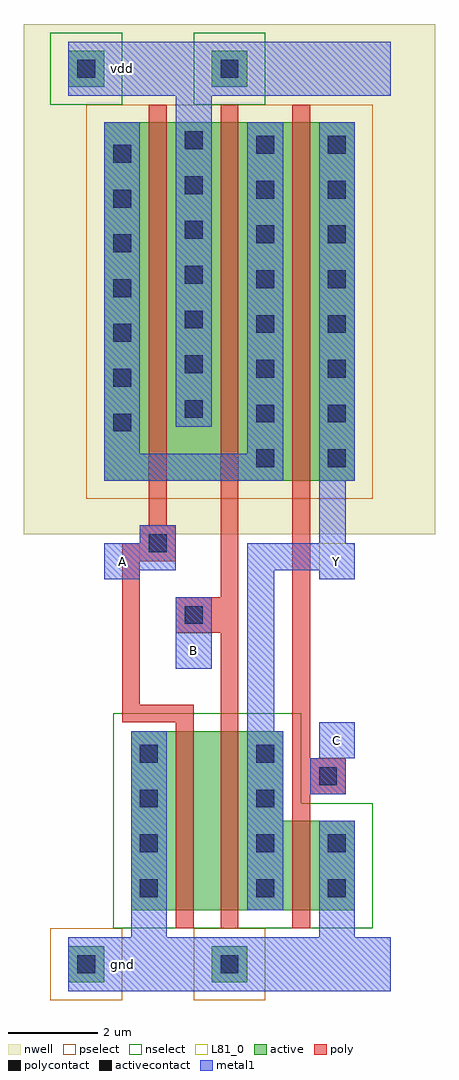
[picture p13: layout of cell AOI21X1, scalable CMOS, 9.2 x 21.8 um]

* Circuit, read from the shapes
.subckt AOI21X1 A B C Y gnd vdd
M1 n1 A gnd gnd nfet w=4u l=0.4u
M2 Y B n1 gnd nfet w=4u l=0.4u
M3 gnd C Y gnd nfet w=2u l=0.4u
M4 vdd A n2 vdd pfet w=8u l=0.4u
M5 n2 B vdd vdd pfet w=8u l=0.4u
M6 Y C n2 vdd pfet w=8u l=0.4u
.ends

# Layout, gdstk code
import gdstk
lib = gdstk.Library(unit=1e-6, precision=1e-09)
def R(c, l, rs):  # rectangles x0, y0, x1, y1
    for r in rs: c.add(gdstk.rectangle(r[:2], r[2:], *l))
def A(c, l, x, y, w, h, nx, ny, dx, dy):  # array of equal rectangles
    R(c, l, [(x+i*dx, y+j*dy, x+i*dx+w, y+j*dy+h) for i in range(nx) for j in range(ny)])
nwell = (42, 0)
active = (43, 0)
pselect = (44, 0)
nselect = (45, 0)
poly = (46, 0)
polycontact = (47, 0)
activecontact = (48, 0)
metal1 = (49, 0)
L81_0 = (81, 0)

aoi21x1 = lib.new_cell('AOI21X1')
R(aoi21x1, nwell, [(-1.4,9.6,7.8,21)])
R(aoi21x1, active, [(-0.4,-0.4,0.4,0.4), (2.8,-0.4,3.6,0.4), (1,1.2,6,3.2), (1,3.2,4.4,5.2), (0.4,10.8,6,18.8), (-0.4,19.6,0.4,20.4), (2.8,19.6,3.6,20.4)])
R(aoi21x1, pselect, [(-0.8,-0.8,0.8,0.8), (2.4,-0.8,4,0.8), (0,10.4,6.4,19.2)])
R(aoi21x1, nselect, [(0.6,0.8,6.4,3.6), (0.6,3.6,4.8,5.6), (-0.8,19.2,0.8,20.8), (2.4,19.2,4,20.8)])
R(aoi21x1, poly, [(2,0.8,2.4,5.4), (3,0.8,3.4,7.4), (4.6,0.8,5,3.8), (4.6,3.8,5.8,4.6), (4.6,4.6,5,19.2), (0.8,5.4,2.4,5.8), (0.8,5.8,1.2,9), (2,7.4,3.4,8.2), (3,8.2,3.4,19.2), (0.8,9,2,9.4), (1.2,9.4,2,9.8), (1.4,9.8,1.8,19.2)])
R(aoi21x1, polycontact, [(5.2,4,5.6,4.4), (2.2,7.6,2.6,8), (1.4,9.2,1.8,9.6)])
A(aoi21x1, activecontact, 1.2, 1.5, 0.4, 0.4, 1, 4, 0, 1)
A(aoi21x1, activecontact, 3.8, 1.5, 0.4, 0.4, 1, 4, 0, 1)
A(aoi21x1, activecontact, 3.8, 11.1, 0.4, 0.4, 1, 8, 0, 1)
A(aoi21x1, activecontact, 5.4, 11.1, 0.4, 0.4, 1, 8, 0, 1)
A(aoi21x1, activecontact, 0.6, 11.9, 0.4, 0.4, 1, 7, 0, 1)
A(aoi21x1, activecontact, 2.2, 12.2, 0.4, 0.4, 1, 7, 0, 1)
R(aoi21x1, activecontact, [(-0.2,-0.2,0.2,0.2), (3,-0.2,3.4,0.2), (5.4,1.5,5.8,1.9), (5.4,2.5,5.8,2.9), (-0.2,19.8,0.2,20.2), (3,19.8,3.4,20.2)])
R(aoi21x1, metal1, [(-0.4,-0.6,6.8,0.6), (1,0.6,1.8,5.2), (5.2,0.6,6,3.2), (3.6,1.2,4.4,5.2), (5,3.8,5.8,4.6), (5.2,4.6,6,5.4), (3.6,5.2,4.2,8.8), (2,6.6,2.8,8.2), (0.4,8.6,1.2,8.8), (5.2,8.6,6,8.8), (0.4,8.8,2,9.4), (3.6,8.8,6,9.4), (1.2,9.4,2,9.8), (5.2,9.4,5.8,10.8), (0.4,10.8,4.4,11.4), (5.2,10.8,6,18.8), (0.4,11.4,1.2,18.8), (3.6,11.4,4.4,18.8), (2,12,2.8,19.4), (-0.4,19.4,6.8,20.6)])
R(aoi21x1, L81_0, [(5.2,4.6,6,5.4), (2,6.6,2.8,7.4), (0.4,8.6,1.2,9.4), (5.2,8.6,6,9.4)])
aoi21x1.add(gdstk.Label('gnd', (0.8,0), layer=109, texttype=0))
aoi21x1.add(gdstk.Label('vdd', (0.8,20), layer=109, texttype=0))
aoi21x1.add(gdstk.Label('A', (0.8,9), layer=109, texttype=0))
aoi21x1.add(gdstk.Label('B', (2.4,7), layer=109, texttype=0))
aoi21x1.add(gdstk.Label('Y', (5.6,9), layer=109, texttype=0))
aoi21x1.add(gdstk.Label('C', (5.6,5), layer=109, texttype=0))

lib.write_gds('AOI21X1.gds')
